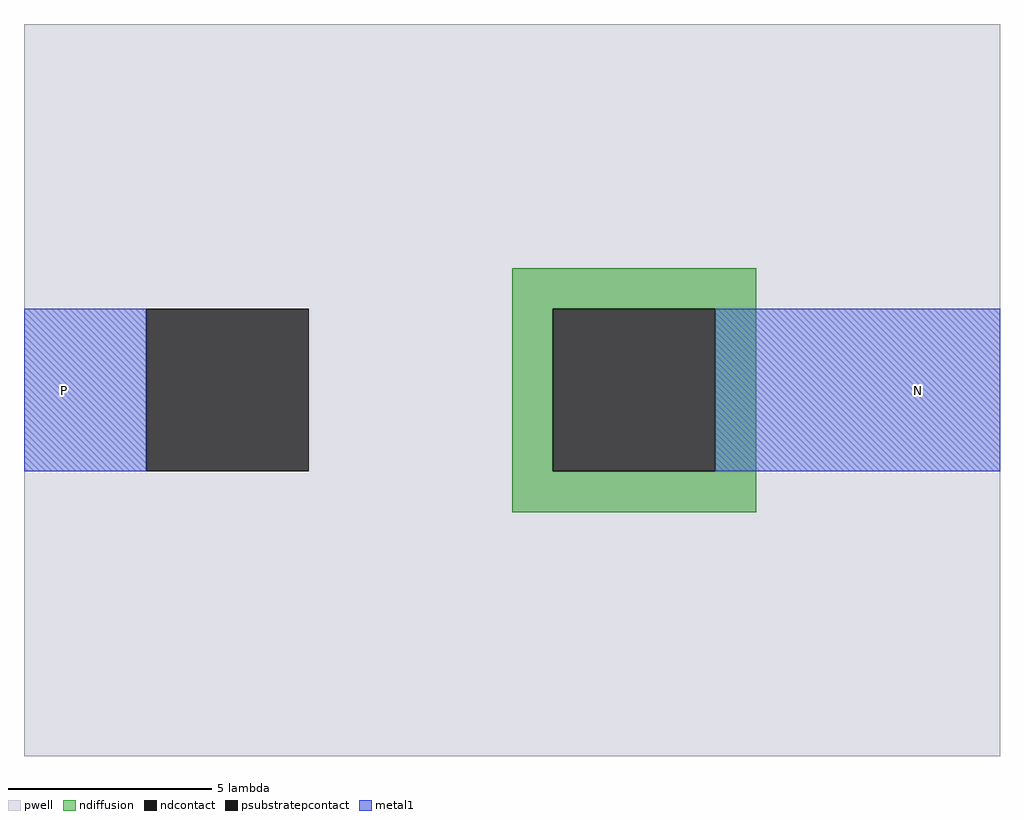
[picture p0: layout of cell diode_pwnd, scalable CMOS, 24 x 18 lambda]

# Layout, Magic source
magic
tech scmos
<< pwell >>
rect 0 0 24 18
<< ndiffusion >>
rect 12 11 18 12
rect 12 7 13 11
rect 17 7 18 11
rect 12 6 18 7
<< ndcontact >>
rect 13 7 17 11
<< psubstratepcontact >>
rect 3 7 7 11
<< metal1 >>
rect 0 7 3 11
rect 17 7 24 11
<< labels >>
rlabel metal1 1 9 1 9 3 P
rlabel metal1 22 9 22 9 1 N
<< end >>
